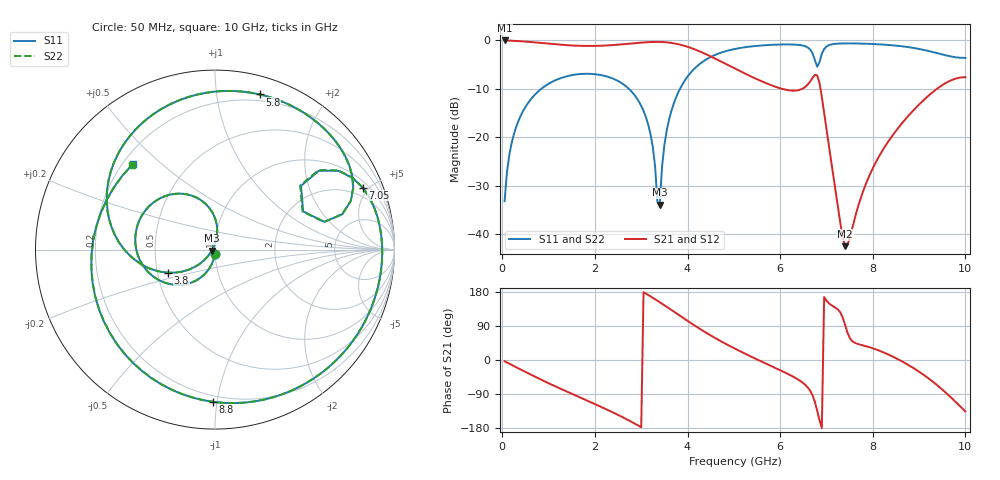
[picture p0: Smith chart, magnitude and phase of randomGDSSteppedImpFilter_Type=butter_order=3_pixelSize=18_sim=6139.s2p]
! freq	dB(S11)	phase(S11)	dB(S12)	phase(S12)
!  dB(S21)	phase(S21)	dB(S22)	phase(S22)
!S-par simulation data
#  GHz  S  DB  R 50
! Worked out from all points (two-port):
!   200 points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, 50 MHz to 10 GHz, reference 50 ohm
!   highest |S21| = -0.01 dB at 50 MHz (marker M1); lowest = -42.5 dB at 7.4 GHz (marker M2)
!   |S21| within 3 dB of the highest: start of sweep to 4.433 GHz
!   lowest |S11| = -34.0 dB at 3.4 GHz (marker M3), VSWR 1.04, Z = 48.1 - j0.649 ohm
!   |S11| at or under -10 dB: start of sweep to 842.4 MHz; 2.733 GHz to 3.838 GHz (1.105 GHz wide, 33.6 % of centre)
!   |S22| runs from -34.0 to -0.6 dB; largest |S21 - S12| = 0
!   S11 on the Smith chart (normalised r, x): 50 MHz: 1.00, -0.04; 3.8 GHz: 0.57, -0.16; 5.8 GHz: 0.15, +1.32; 7.05 GHz: 1.35, +4.58; 8.8 GHz: 0.16, -0.97; 10 GHz: 0.24, +0.40
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0.05  -33.23 -93.2  -0.01 -3.2  -0.01 -3.2  -33.23 -93.2
0.2  -21.28 -103.1  -0.06 -12.8  -0.06 -12.8  -21.28 -103.1
0.5  -13.75 -122.1  -0.24 -31.5  -0.24 -31.5  -13.75 -122.1
1.1  -8.44 -157.4  -0.76 -66.9  -0.76 -66.9  -8.44 -157.4
1.75  -6.90 167.0  -1.13 -102.6  -1.13 -102.6  -6.90 167.0
2.95  -12.64 97.6  -0.49 -174.0  -0.49 -174.0  -12.64 97.6
3.2  -19.34 83.4  -0.33 168.0  -0.33 168.0  -19.34 83.3
3.35  -33.44 102.2  -0.30 156.4  -0.30 156.4  -33.49 101.8
3.4  -33.95 -160.4  -0.31 152.5  -0.31 152.5  -34.02 -159.8
3.55  -18.64 -137.0  -0.40 140.4  -0.40 140.4  -18.64 -136.9
3.8  -10.73 -153.8  -0.78 119.8  -0.78 119.8  -10.73 -153.6
4.4  -3.95 160.4  -2.86 72.1  -2.86 72.1  -3.95 160.5
5.05  -1.71 117.2  -5.95 28.3  -5.95 28.3  -1.71 117.4
5.8  -0.92 73.9  -9.23 -15.5  -9.23 -15.5  -0.92 74.0
6.7  -2.66 15.5  -7.72 -93.5  -7.72 -93.5  -2.67 15.5
6.85  -4.48 36.6  -8.81 -159.2  -8.81 -159.2  -4.52 36.9
7.05  -0.99 22.8  -21.62 150.0  -21.62 150.0  -1.00 23.1
7.4  -0.61 -1.6  -42.51 93.4  -42.51 93.4  -0.61 -1.4
8.35  -0.94 -58.9  -20.67 13.7  -20.67 13.7  -0.94 -58.6
8.8  -1.43 -90.9  -15.25 -15.4  -15.25 -15.4  -1.43 -90.6
9.5  -2.89 -158.8  -9.23 -77.9  -9.23 -77.9  -2.90 -158.5
10  -3.60 134.0  -7.59 -135.9  -7.59 -135.9  -3.60 134.2
